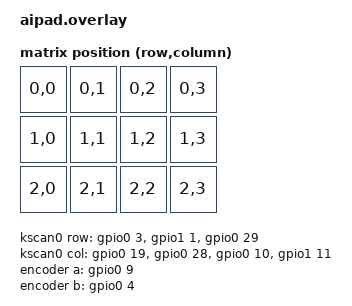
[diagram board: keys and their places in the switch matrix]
#include <zephyr/dt-bindings/gpio/gpio.h>
#include <zephyr/dt-bindings/pwm/pwm.h>
#include <zephyr/dt-bindings/mipi_dbi/mipi_dbi.h>
#include <zephyr/dt-bindings/led/led.h>
#include <dt-bindings/zmk/matrix_transform.h>
#include "aipad-layouts.dtsi"

/* XIAO nRF52840 Plus pin assignment, taken from J1 on the schematic.
 *
 * The MCU sits on its own board and reaches the keyboard through a 24 pin FPC,
 * so several of the nets below land on pins the plain XIAO does not break out.
 * The seeed_xiao connector (&xiao_d) only maps D0..D10, so every reference in
 * this file goes through &gpio0 / &gpio1 directly instead.
 *
 *   J1 pin  net     nRF pin  XIAO   use
 *    4      CS-4    P1.15    D10    ScreenKey 4 chip select -> display slot 3
 *    5      SCLK    P1.03    --     SPI clock, shared
 *    6      CS-2    P1.14    D9     ScreenKey 2 chip select -> display slot 1
 *    7      DC      P1.05    --     data/command, shared by all four panels
 *    8      CS-1    P1.13    D8     ScreenKey 1 chip select -> display slot 0
 *    9      CS-3    P1.07    --     ScreenKey 3 chip select -> display slot 2
 *   10      MOSI    P1.12    D7     SPI data, shared
 *   12      RST     P0.02    D0     panel reset, shared by all four panels
 *   13      PWM     P0.15    --     backlight enable, shared (PAM2804 EN x4)
 *   14      ROW0    P0.03    D1     matrix row 0 (the four ScreenKeys)
 *   15      COL0    P0.19    --     matrix column 0
 *   16      COL1    P0.28    D2     matrix column 1
 *   17      ROW1    P1.01    --     matrix row 1
 *   18      ROW2    P0.29    D3     matrix row 2
 *   19      RE-A    P0.09    --     encoder A (NFC1 pad)
 *   20      RE-B    P0.04    D4     encoder B
 *   21      COL2    P0.10    --     matrix column 2 (NFC2 pad)
 *   22      LED     P0.05    D5     WS2812B x4 data in - SPIM3 MOSI, see &spi3
 *   24      COL3    P1.11    D6     matrix column 3
 *
 * SCLK and CS-3 were originally read off the schematic the other way round
 * (SCLK on P1.07, CS-3 on P1.03). The boot-time baseline in status_screen.c
 * settled it: with every line pulled down, only a line carrying an external
 * pull-up reads high, and the pull-ups (R1 / R3 / R9 / R11) sit on the four chip
 * selects. P1.07 read high and P1.03 read low, so P1.07 is the chip select and
 * P1.03 is the clock. With them swapped the panels never saw a clock, and
 * because they are write-only the driver still reported a successful init.
 *
 * MISO is not wired: all four panels are write-only.
 *
 * Peripheral conflicts and how they are resolved:
 *   - i2c1 defaults to P0.04/P0.05, which are the encoder B pin and the WS2812
 *     data line here, so it is disabled below.
 *   - uart0 defaults to P1.11 (TX) / P1.12 (RX), which are COL3 and MOSI here.
 *     xiao_ble_zmk.dts already disables it (&xiao_serial), and the RPC for ZMK
 *     Studio runs over USB CDC through the studio-rpc-usb-uart snippet, so
 *     nothing has to be done here.
 *   - spi2 defaults to P1.13/P1.14/P1.15, which are three of the chip selects.
 *     The pinctrl block at the bottom moves SCK and MOSI onto P1.07 and P1.12.
 *   - P0.09 and P0.10 are the NFC antenna pads; the &uicr override further down
 *     turns them into GPIOs.
 *   - The WS2812B chain on P0.05 is driven by spi3 in MOSI-only mode (see
 *     &spi3 below). spi3's board-default pinctrl state reuses the QSPI flash
 *     pins, so it is given its own state here that maps only MOSI to P0.05.
 *     A GPIO hog still parks the pin low before spi3's driver takes it over
 *     at boot, and after; see the &gpio0 node at the bottom for why.
 */

/ {
    chosen {
        /* Screen 0 goes through ZMK's display module, which only ever binds one
         * chosen display. Screens 1..3 are registered with LVGL by
         * src/screenkey_display.c instead. */
        zephyr,display = &aipad_lcd0;
        zmk,kscan = &kscan0;
        zmk,physical-layout = &aipad_layout;
    };

    aipad_transform: aipad_transform {
        compatible = "zmk,matrix-transform";
        rows = <3>;
        columns = <4>;
        /* RC(2,3) is kept in the map even though the fitted encoder has no push
         * switch. D12 on the PCB wires the encoder's S1/S2 pads into the matrix,
         * so swapping in a push encoder later needs no devicetree change; the
         * keymap binds &none there for now. */
        map = <
            RC(0,0) RC(0,1) RC(0,2) RC(0,3)
            RC(1,0) RC(1,1) RC(1,2) RC(1,3)
            RC(2,0) RC(2,1) RC(2,2) RC(2,3)
        >;
    };

    kscan0: kscan {
        compatible = "zmk,kscan-gpio-matrix";
        wakeup-source;
        diode-direction = "col2row";

        col-gpios
            = <&gpio0 19 GPIO_ACTIVE_HIGH>
            , <&gpio0 28 GPIO_ACTIVE_HIGH>
            , <&gpio0 10 GPIO_ACTIVE_HIGH>
            , <&gpio1 11 GPIO_ACTIVE_HIGH>
            ;

        row-gpios
            = <&gpio0  3 (GPIO_ACTIVE_HIGH | GPIO_PULL_DOWN)>
            , <&gpio1  1 (GPIO_ACTIVE_HIGH | GPIO_PULL_DOWN)>
            , <&gpio0 29 (GPIO_ACTIVE_HIGH | GPIO_PULL_DOWN)>
            ;
    };

    /* Alps EC12E1220301: 12 detents and 12 pulses per rotation. The ZMK EC11
     * driver counts every quadrature transition, so a full turn is 12 * 4 = 48
     * steps and triggers-per-rotation = 12 makes one detent one key press.
     * No GPIO_PULL_UP here, unlike the other encoders in this workspace. The
     * board follows Alps' recommended filter: the 10K pull-up sits on the
     * encoder terminal and a second 10K runs in series from there to the MCU,
     * with 10nF to ground at the MCU end. That circuit needs a high impedance
     * input. Switching on the nRF52840's internal pull-up (~13K) puts it in
     * series with that 10K, so a closed contact only reaches
     * 3.3V * 10 / (10 + 13) = 1.43V - above V_IL (0.3 * VDD = 0.99V), which
     * means the pin never reads low and the encoder produces nothing at all.
     * The other configs here get away with GPIO_PULL_UP because their encoders
     * are wired straight to the pin with no series resistor. */
    encoder: encoder {
        compatible = "alps,ec11";
        a-gpios = <&gpio0 9 GPIO_ACTIVE_HIGH>;
        b-gpios = <&gpio0 4 GPIO_ACTIVE_HIGH>;
        steps = <48>;
        status = "okay";
    };

    sensors: sensors {
        compatible = "zmk,keymap-sensors";
        sensors = <&encoder>;
        triggers-per-rotation = <12>;
    };

    /* All four ScreenKeys sit on the same SPI bus and share DC and RESET. Only
     * the chip select differs: the child "reg" indexes the parent bus's
     * cs-gpios list (see MIPI_DBI_SPI_CONFIG_DT in zephyr/drivers/mipi_dbi.h).
     *
     * RESET is deliberately declared on this first controller only. st7735r's
     * init calls mipi_dbi_reset() on its own controller, and the reset line is
     * physically shared, so any later controller carrying reset-gpios would
     * hardware-reset the already-configured panels and leave them blank. With
     * reset-gpios absent, mipi_dbi_reset() returns -ENOSYS there and st7735r
     * falls back to the per-chip software reset (ST7735R_CMD_SW_RESET), which
     * travels over that panel's own chip select and cannot disturb the others.
     * Keep this node first: device init order follows devicetree order, and
     * panel 0 must take the shared hardware reset before the rest are set up. */
    aipad_mipi_dbi0: aipad_mipi_dbi0 {
        compatible = "zephyr,mipi-dbi-spi";
        spi-dev = <&spi2>;
        dc-gpios = <&gpio1 5 GPIO_ACTIVE_HIGH>;
        reset-gpios = <&gpio0 2 GPIO_ACTIVE_LOW>;
        write-only;
        #address-cells = <1>;
        #size-cells = <0>;

        aipad_lcd0: st7735s@0 {
            compatible = "sitronix,st7735r";
            mipi-max-frequency = <8000000>;
            mipi-mode = "MIPI_DBI_MODE_SPI_4WIRE";
            reg = <0>;
            width = <128>;
            height = <128>;
            x-offset = <3>;
            y-offset = <2>;
            madctl = <0xa8>;
            colmod = <0x05>;
            inversion-on;
            invctr = <0x03>;
            vmctr1 = <0x0e>;
            pwctr1 = [62 02 04];
            pwctr2 = [c0];
            pwctr3 = [0d 00];
            pwctr4 = [8d 6a];
            pwctr5 = [8d ee];
            frmctr1 = [05 3a 3a];
            frmctr2 = [05 3a 3a];
            frmctr3 = [05 3a 3a 05 3a 3a];
            gamctrp1 = [10 0e 02 03 0e 07 02 07 0a 12 27 37 00 0d 0e 10];
            gamctrn1 = [10 0e 03 03 0f 06 02 08 0a 13 26 36 00 0d 0e 10];
        };
    };

    /* Same SPI bus and same DC pin, no reset-gpios: see the comment above.
     * The child reg still indexes &spi2's cs-gpios, so reg = <1> selects CS-2. */
    aipad_mipi_dbi1: aipad_mipi_dbi1 {
        compatible = "zephyr,mipi-dbi-spi";
        spi-dev = <&spi2>;
        dc-gpios = <&gpio1 5 GPIO_ACTIVE_HIGH>;
        write-only;
        #address-cells = <1>;
        #size-cells = <0>;

        aipad_lcd1: st7735s@1 {
            compatible = "sitronix,st7735r";
            mipi-max-frequency = <8000000>;
            mipi-mode = "MIPI_DBI_MODE_SPI_4WIRE";
            reg = <1>;
            width = <128>;
            height = <128>;
            x-offset = <3>;
            y-offset = <2>;
            madctl = <0xa8>;
            colmod = <0x05>;
            inversion-on;
            invctr = <0x03>;
            vmctr1 = <0x0e>;
            pwctr1 = [62 02 04];
            pwctr2 = [c0];
            pwctr3 = [0d 00];
            pwctr4 = [8d 6a];
            pwctr5 = [8d ee];
            frmctr1 = [05 3a 3a];
            frmctr2 = [05 3a 3a];
            frmctr3 = [05 3a 3a 05 3a 3a];
            gamctrp1 = [10 0e 02 03 0e 07 02 07 0a 12 27 37 00 0d 0e 10];
            gamctrn1 = [10 0e 03 03 0f 06 02 08 0a 13 26 36 00 0d 0e 10];
        };
    };

    aipad_mipi_dbi2: aipad_mipi_dbi2 {
        compatible = "zephyr,mipi-dbi-spi";
        spi-dev = <&spi2>;
        dc-gpios = <&gpio1 5 GPIO_ACTIVE_HIGH>;
        write-only;
        #address-cells = <1>;
        #size-cells = <0>;

        aipad_lcd2: st7735s@2 {
            compatible = "sitronix,st7735r";
            mipi-max-frequency = <8000000>;
            mipi-mode = "MIPI_DBI_MODE_SPI_4WIRE";
            reg = <2>;
            width = <128>;
            height = <128>;
            x-offset = <3>;
            y-offset = <2>;
            madctl = <0xa8>;
            colmod = <0x05>;
            inversion-on;
            invctr = <0x03>;
            vmctr1 = <0x0e>;
            pwctr1 = [62 02 04];
            pwctr2 = [c0];
            pwctr3 = [0d 00];
            pwctr4 = [8d 6a];
            pwctr5 = [8d ee];
            frmctr1 = [05 3a 3a];
            frmctr2 = [05 3a 3a];
            frmctr3 = [05 3a 3a 05 3a 3a];
            gamctrp1 = [10 0e 02 03 0e 07 02 07 0a 12 27 37 00 0d 0e 10];
            gamctrn1 = [10 0e 03 03 0f 06 02 08 0a 13 26 36 00 0d 0e 10];
        };
    };

    aipad_mipi_dbi3: aipad_mipi_dbi3 {
        compatible = "zephyr,mipi-dbi-spi";
        spi-dev = <&spi2>;
        dc-gpios = <&gpio1 5 GPIO_ACTIVE_HIGH>;
        write-only;
        #address-cells = <1>;
        #size-cells = <0>;

        aipad_lcd3: st7735s@3 {
            compatible = "sitronix,st7735r";
            mipi-max-frequency = <8000000>;
            mipi-mode = "MIPI_DBI_MODE_SPI_4WIRE";
            reg = <3>;
            width = <128>;
            height = <128>;
            x-offset = <3>;
            y-offset = <2>;
            madctl = <0xa8>;
            colmod = <0x05>;
            inversion-on;
            invctr = <0x03>;
            vmctr1 = <0x0e>;
            pwctr1 = [62 02 04];
            pwctr2 = [c0];
            pwctr3 = [0d 00];
            pwctr4 = [8d 6a];
            pwctr5 = [8d ee];
            frmctr1 = [05 3a 3a];
            frmctr2 = [05 3a 3a];
            frmctr3 = [05 3a 3a 05 3a 3a];
            gamctrp1 = [10 0e 02 03 0e 07 02 07 0a 12 27 37 00 0d 0e 10];
            gamctrn1 = [10 0e 03 03 0f 06 02 08 0a 13 26 36 00 0d 0e 10];
        };
    };

    /* CONFIG_RAWHID_APP_COMBO_RUNTIME=y replaces ZMK's devicetree Combo
     * listener with the Keylink runtime engine, which requires /combos to be
     * disabled here while its children stay in the keymap as defaults. */
    combos {
        status = "disabled";
    };

    /* One PWM channel drives the EN pin of all four PAM2804 backlight drivers,
     * so the renderer keeps it on while any screen is showing something. */
    aipad_pwm_leds: aipad_pwm_leds {
        compatible = "pwm-leds";

        aipad_backlight: aipad_backlight {
            pwms = <&pwm1 0 PWM_MSEC(1) PWM_POLARITY_NORMAL>;
        };
    };
};

/* COL2 is P0.10 (NFC2) and the encoder A channel is P0.09 (NFC1). Without this
 * the NFC peripheral keeps both pads, and the third column and one encoder
 * channel are dead with no error anywhere. The UICR is written once, on the
 * first boot after flashing, and only takes effect after a power cycle;
 * switching back needs a UICR erase. CONFIG_NFCT_PINS_AS_GPIOS does the same
 * thing but is deprecated in current Zephyr. xiao_ble_common.dtsi already sets
 * gpio-as-nreset on this node; the two properties merge. */
&uicr {
    nfct-pins-as-gpios;
};

/* P0.04 (D4) and P0.05 (D5) are the XIAO's default I2C pins and are used here
 * for the encoder B channel and the WS2812B data line. */
&i2c1 {
    status = "disabled";
};

/* P0.05 drives the four daisy-chained WS2812B. Left without a defined level,
 * the first LED's DIN floats and can clock noise in as data - four LEDs
 * latched to arbitrary colours is up to 240 mA through the XIAO's 3.3V
 * regulator, dissipating (5 - 3.3) x 0.24 = 0.4 W and showing up as a hot
 * board. Holding the line low gives the chain a defined idle and keeps it
 * dark until spi3 starts driving it.
 *
 * Do NOT drop this node now that &spi3 / aipad_leds exist below. gpio_hogs_init()
 * (zephyr/drivers/gpio/gpio_hogs.c:113) only calls gpio_pin_configure() - it
 * has no pin-reservation mechanism - so pinctrl is free to reconfigure
 * P0.05's PIN_CNF afterwards without conflict. But the hog runs at
 * POST_KERNEL 41, right after the GPIO driver (40), while spi3's pinctrl
 * only takes the pin at POST_KERNEL 50. In the gap between them, at
 * POST_KERNEL 45, AIPAD_ENCODER_PROBE's screenkey_pin_walk() toggles the
 * FPC's other signal pins for about 8 seconds; without this hog, P0.05 would
 * sit as a floating input right next to those 0.5 mm traces for that whole
 * window, free to pick up whatever they couple onto it. The hog keeps it
 * driven low the entire time instead.
 *
 * It also future-proofs sleep: aipad_spi3_sleep's low-power-enable returns
 * P0.05 to a fully high-impedance input once spi3 goes idle, so if
 * CONFIG_PM or CONFIG_ZMK_SLEEP=y are enabled later, this hog - not the
 * (then inactive) SPI pinctrl state - is what keeps the line from floating. */
&gpio0 {
    ws2812_din_idle {
        gpio-hog;
        gpios = <5 GPIO_ACTIVE_HIGH>;
        output-low;
    };
};

&spi2 {
    status = "okay";
    pinctrl-0 = <&aipad_spi2_default>;
    pinctrl-1 = <&aipad_spi2_sleep>;
    pinctrl-names = "default", "sleep";
    /* Index n selects aipad_lcd<n>, which is display slot n. The physical
     * left-to-right order of the ScreenKeys is assumed to follow CS-1..CS-4;
     * confirm it with CONFIG_AIPAD_DISPLAY_SELFTEST and reorder this list if
     * the board is wired the other way round. */
    cs-gpios
        = <&gpio1 13 GPIO_ACTIVE_LOW>
        , <&gpio1 14 GPIO_ACTIVE_LOW>
        , <&gpio1  7 GPIO_ACTIVE_LOW>
        , <&gpio1 15 GPIO_ACTIVE_LOW>
        ;
};

/* WS2812B-V6 timing, driven over spi3 with no clock/MISO wired (MOSI-only,
 * "spi-cs-less" style): each WS2812 bit is encoded as one 8-bit SPI frame at
 * spi-max-frequency, shifted out MSB first. The run of high bits inside the
 * frame becomes the WS2812's high pulse (T0H / T1H) and everything low
 * around it - the frame's own trailing zeros plus the leading zeros of the
 * frame that follows - becomes the low pulse (T0L / T1L). Count the bits,
 * do not assume the high run starts at bit 7: 0x70 and 0x40 below both
 * begin with a low bit.
 *
 * spi-max-frequency = <4000000>: the nRF SPIM only locks to 1/2/4/8/16/32
 * MHz. get_nrf_spim_frequency() (zephyr/drivers/spi/spi_nrfx_spim.c:165)
 * rounds a requested rate DOWN to the nearest one of those, silently, so
 * asking for anything between 4 and 8 MHz still lands on 4 MHz. At 4 MHz one
 * SPI bit is 250ns.
 *
 * spi-one-frame = <0x70> is 0111_0000: one low bit, then 3 high, then 4
 * low. T1H = 3 * 250ns = 750ns. T1L = the frame's own 4 trailing low bits
 * plus the 1 leading low bit of the next frame = 5 * 250ns = 1250ns. Both
 * sit inside the WS2812B-V6's spec: T1H 580-1000ns, T1L 580-1600ns.
 *
 * spi-zero-frame = <0x40> is 0100_0000: one low bit, one high, then 6 low.
 * T0H = 250ns, inside the V6's 220-380ns spec. T0L = 6 + 1 = 7 * 250ns =
 * 1750ns, over the V6's nominal 1600ns ceiling - see the asymmetry
 * argument below for why the long side is the harmless one.
 *
 * This board used to run spi-max-frequency = <8000000> with spi-one-frame =
 * <0xFC> / spi-zero-frame = <0xC0> (125ns/bit, T1H=750ns, T0H=250ns - both
 * nominally in spec). That configuration shipped with a real bug: T1L came
 * out to 250ns, well under the V6's 580ns floor. WS2812's decoder is
 * edge-triggered - it starts a one-shot on the rising edge of DIN and
 * samples it against T0H/T1H, then waits for the *next* rising edge to
 * start the following bit - so a low period this short does not leave room
 * for the line to settle low before the next bit's edge arrives. Back-to-back
 * '1' bits then merge into what the decoder reads as one longer high pulse,
 * so bits are lost. Each LED re-emits what it decoded to the next one down
 * the chain, so the damage accumulates: on real hardware the four LEDs came
 * out as unrelated garbled colours that changed on every refresh, because
 * which bits get merged depends on the bit pattern of that particular frame.
 *
 * No 8 MHz frame value could have fixed this. At 8 MHz a whole 8-bit frame
 * is 1000ns, while the V6 needs T1H >= 580ns and T1L >= 580ns, i.e. at least
 * 1160ns for a '1' bit - more than one frame can carry. 4 MHz gives 2000ns
 * per frame, which fits both with room to spare.
 *
 * The trade-off going the other way is harmless: at 4 MHz the total bit
 * period (T0H+T0L or T1H+T1L) is 2000ns, over the V6's nominal 1250ns +-
 * 600ns period, but that only matters if it starts to approach the ~280us
 * RES/latch threshold below - and 2000ns is nowhere close. A long low is
 * just an idle line to the receiving LED; a short low is a lost bit
 * boundary. That asymmetry is why the correct fix is to lengthen T1L, not
 * to look for some frequency that shortens T1H instead.
 *
 * This also doubles the SPI transfer's tolerance for byte-to-byte gaps
 * versus 8 MHz: EasyDMA has to keep feeding a byte every bit period or the
 * line droops early, and spi3 shares RAM/AHB bandwidth with spi2's much
 * larger ST7735 framebuffer transfers on this board. Twice the time budget
 * per byte makes that contention less likely to show up as further
 * corruption on top of the T1L problem above.
 *
 * If either frame value is ever changed, keep bit 0 (the LSB) clear: SPI
 * idles low between transfers, and a frame with a low LSB is what makes
 * that idle level line up with a WS2812 low.
 *
 * These are the same values already proven on this workspace's hitsuki46
 * board (hitsuki46.dtsi, the &spi1 / ws2812 node): 4 MHz, spi-one-frame =
 * <0x70>, spi-zero-frame = <0x40>.
 *
 * reset-delay = <300>: WS2812B-V6 requires RES (latch/reset) > 280us
 * between frames. 70, used for the plain WS2812B elsewhere in this
 * workspace, is too short for the V6.
 *
 * color-mapping is GRB, per the WS2812B's byte order.
 */
&spi3 {
    status = "okay";
    pinctrl-0 = <&aipad_spi3_default>;
    pinctrl-1 = <&aipad_spi3_sleep>;
    pinctrl-names = "default", "sleep";

    aipad_leds: ws2812@0 {
        compatible = "worldsemi,ws2812-spi";
        reg = <0>;
        spi-max-frequency = <4000000>;
        chain-length = <4>;
        spi-one-frame  = <0x70>;
        spi-zero-frame = <0x40>;
        reset-delay = <300>;
        color-mapping = <LED_COLOR_ID_GREEN LED_COLOR_ID_RED LED_COLOR_ID_BLUE>;
    };
};

&pinctrl {
    /* The board default puts SPI2 on P1.13/P1.14/P1.15; all three are chip
     * selects here, so SCK and MOSI are remapped to P1.03 and P1.12. MISO is
     * left unconnected. */
    aipad_spi2_default: aipad_spi2_default {
        group1 {
            psels = <NRF_PSEL(SPIM_SCK, 1, 3)>,
                    <NRF_PSEL(SPIM_MOSI, 1, 12)>;
        };
    };

    aipad_spi2_sleep: aipad_spi2_sleep {
        group1 {
            psels = <NRF_PSEL(SPIM_SCK, 1, 3)>,
                    <NRF_PSEL(SPIM_MOSI, 1, 12)>;
            low-power-enable;
        };
    };

    /* The board default spi3_default sits on P0.21 / P0.20 / P0.24, which are the
     * QSPI flash pins (qspi_default in xiao_ble-pinctrl.dtsi uses the same three)
     * and the p25q16h is enabled. Reusing that label would let SPI init take the
     * flash's pins at POST_KERNEL 50, before QSPI ever gets them. spi3 therefore
     * gets its own state here. Only MOSI is mapped: WS2812 needs no clock and no
     * MISO, and every other pin on the FPC is spoken for. */
    aipad_spi3_default: aipad_spi3_default {
        group1 {
            psels = <NRF_PSEL(SPIM_MOSI, 0, 5)>;
        };
    };

    aipad_spi3_sleep: aipad_spi3_sleep {
        group1 {
            psels = <NRF_PSEL(SPIM_MOSI, 0, 5)>;
            low-power-enable;
        };
    };

    aipad_pwm1_default: aipad_pwm1_default {
        group1 {
            psels = <NRF_PSEL(PWM_OUT0, 0, 15)>;
        };
    };

    aipad_pwm1_sleep: aipad_pwm1_sleep {
        group1 {
            psels = <NRF_PSEL(PWM_OUT0, 0, 15)>;
            low-power-enable;
        };
    };
};

&pwm1 {
    status = "okay";
    pinctrl-0 = <&aipad_pwm1_default>;
    pinctrl-1 = <&aipad_pwm1_sleep>;
    pinctrl-names = "default", "sleep";
};
